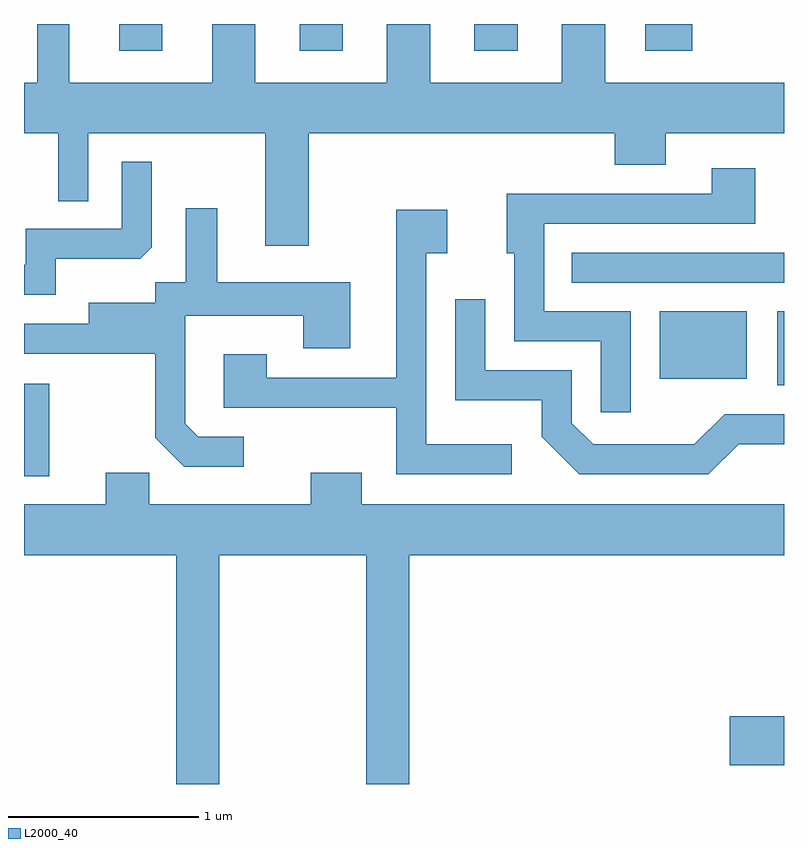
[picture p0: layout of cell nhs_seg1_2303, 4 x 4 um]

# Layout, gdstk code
import gdstk
lib = gdstk.Library(unit=1e-6, precision=1e-09)
def R(c, l, rs):  # rectangles x0, y0, x1, y1
    for r in rs: c.add(gdstk.rectangle(r[:2], r[2:], *l))
def P(c, l, *ps):  # polygons
    for p in ps: c.add(gdstk.Polygon(p, *l))
L2000_40 = (2000, 40)

nhs_seg1_2303 = lib.new_cell('nhs_seg1_2303')
R(nhs_seg1_2303, L2000_40, [(259.326,891.811,259.611,892.069), (255.611,893.333,255.744,893.819), (259.576,893.811,259.611,894.199), (258.956,893.846,259.414,894.199), (258.493,894.351,259.611,894.509), (256.111,895.571,256.339,895.712), (257.061,895.571,257.289,895.712), (257.981,895.571,258.209,895.712), (258.881,895.571,259.129,895.712)])
P(nhs_seg1_2303, L2000_40, [(257.109,895.136),(258.721,895.136),(258.721,894.971),(258.989,894.971),(258.989,895.136),(259.611,895.136),(259.611,895.404),(258.669,895.404),(258.669,895.712),(258.441,895.712),(258.441,895.404),(257.749,895.404),(257.749,895.712),(257.521,895.712),(257.521,895.404),(256.829,895.404),(256.829,895.712),(256.601,895.712),(256.601,895.404),(255.849,895.404),(255.849,895.712),(255.681,895.712),(255.681,895.404),(255.611,895.404),(255.611,895.136),(255.791,895.136),(255.791,894.778),(255.949,894.778),(255.949,895.136),(256.881,895.136),(256.881,894.546),(257.109,894.546)],
  [(255.779,894.476),(256.224,894.476),(256.284,894.537),(256.284,894.988),(256.126,894.988),(256.126,894.634),(255.621,894.634),(255.621,894.444),(255.611,894.444),(255.611,894.286),(255.779,894.286)],
  [(258.804,894.199),(258.349,894.199),(258.349,894.661),(259.459,894.661),(259.459,894.954),(259.231,894.954),(259.231,894.819),(258.151,894.819),(258.151,894.506),(258.191,894.506),(258.191,894.041),(258.646,894.041),(258.646,893.668),(258.804,893.668)],
  [(256.767,893.539),(256.527,893.539),(256.459,893.607),(256.459,894.176),(257.081,894.176),(257.081,894.006),(257.329,894.006),(257.329,894.354),(256.629,894.354),(256.629,894.743),(256.461,894.743),(256.461,894.354),(256.301,894.354),(256.301,894.244),(255.951,894.244),(255.951,894.134),(255.611,894.134),(255.611,893.976),(256.301,893.976),(256.301,893.534),(256.454,893.381),(256.767,893.381)],
  [(258.178,893.499),(257.729,893.499),(257.729,894.506),(257.839,894.506),(257.839,894.734),(257.571,894.734),(257.571,893.849),(256.889,893.849),(256.889,893.974),(256.661,893.974),(256.661,893.691),(257.571,893.691),(257.571,893.341),(258.178,893.341)],
  [(259.372,893.501),(259.611,893.501),(259.611,893.659),(259.299,893.659),(259.139,893.499),(258.606,893.499),(258.494,893.612),(258.494,893.889),(258.039,893.889),(258.039,894.263),(257.881,894.263),(257.881,893.731),(258.336,893.731),(258.336,893.539),(258.534,893.341),(259.212,893.341)],
  [(256.639,892.916),(257.411,892.916),(257.411,891.712),(257.639,891.712),(257.639,892.916),(259.611,892.916),(259.611,893.184),(257.389,893.184),(257.389,893.349),(257.121,893.349),(257.121,893.184),(256.269,893.184),(256.269,893.349),(256.041,893.349),(256.041,893.184),(255.611,893.184),(255.611,892.916),(256.411,892.916),(256.411,891.712),(256.639,891.712)])

lib.write_gds('nhs_seg1_2303.gds')
